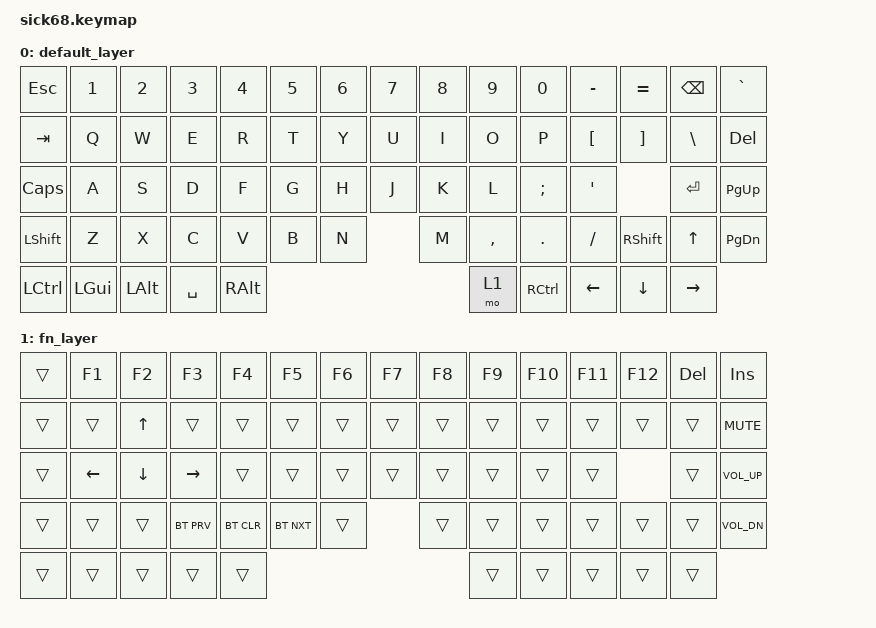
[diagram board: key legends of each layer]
/*
 * SiCK-68 ZMK Keymap
 * Converted from QMK Configurator JSON (handwired_sick68_layout_65_ansi_2026-04-22.json)
 *
 * Layer 0: Base (65% ANSI)
 * Layer 1: Function layer (Fn key = MO(1))
 */

#include <behaviors.dtsi>
#include <dt-bindings/zmk/keys.h>
#include <dt-bindings/zmk/bt.h>
#include <dt-bindings/zmk/outputs.h>

/ {
    keymap {
        compatible = "zmk,keymap";

        /* ── Layer 0: Base ─────────────────────────────────────────────────────
         *  ESC  1    2    3    4    5    6    7    8    9    0    -    =    BSPC GRV
         *  TAB  Q    W    E    R    T    Y    U    I    O    P    [    ]    \    DEL
         *  CAPS A    S    D    F    G    H    J    K    L    ;    '         ENT  PGUP
         *  LSFT      Z    X    C    V    B    N    M    ,    .    /    RSFT UP   PGDN
         *  LCTL LGUI LALT           SPC            RALT MO1  RCTL LEFT DOWN RGHT
         */
        default_layer {
            bindings = <
                &kp ESC   &kp N1   &kp N2   &kp N3   &kp N4   &kp N5   &kp N6   &kp N7   &kp N8   &kp N9   &kp N0   &kp MINUS &kp EQUAL &kp BSPC  &kp GRAVE
                &kp TAB   &kp Q    &kp W    &kp E    &kp R    &kp T    &kp Y    &kp U    &kp I    &kp O    &kp P    &kp LBKT  &kp RBKT  &kp BSLH  &kp DEL
                &kp CAPS  &kp A    &kp S    &kp D    &kp F    &kp G    &kp H    &kp J    &kp K    &kp L    &kp SEMI &kp SQT             &kp RET   &kp PG_UP
                &kp LSHFT          &kp Z    &kp X    &kp C    &kp V    &kp B    &kp N    &kp M    &kp COMMA &kp DOT &kp FSLH  &kp RSHFT &kp UP    &kp PG_DN
                &kp LCTRL &kp LGUI &kp LALT                   &kp SPACE                  &kp RALT  &mo 1   &kp RCTRL &kp LEFT &kp DOWN  &kp RIGHT
            >;
        };

        /* ── Layer 1: Function ─────────────────────────────────────────────────
         *  ---  F1   F2   F3   F4   F5   F6   F7   F8   F9   F10  F11  F12  DEL  INS
         *  ---  ---  UP   ---  ---  ---  ---  ---  ---  ---  ---  ---  ---  ---  MUTE
         *  ---  LEFT DOWN RGHT ---  ---  ---  ---  ---  ---  ---  ---       ---  VOLU
         *  ---       ---  ---  BLDN BLTG BLUP ---  ---  ---  ---  ---  ---  ---  VOLD
         *  ---  ---  ---             ---            ---  ---  ---  PREV PLAY NEXT
         *
         *  Note: QMK's BL_DOWN/BL_TOGG/BL_UP have no ZMK equivalent for Nice!Nano
         *        (Nice!Nano has no hardware backlight). Mapped to BT controls instead.
         *  Note: QMK MS_* (mouse keys) mapped to ZMK equivalents are commented out
         *        — enable if you add zmk-mouse to your config.
         */
        fn_layer {
            bindings = <
                &trans    &kp F1   &kp F2   &kp F3   &kp F4   &kp F5   &kp F6   &kp F7   &kp F8   &kp F9   &kp F10  &kp F11   &kp F12   &kp DEL   &kp INS
                &trans    &trans   &kp UP   &trans   &trans   &trans   &trans   &trans   &trans   &trans   &trans   &trans    &trans    &trans    &kp C_MUTE
                &trans    &kp LEFT &kp DOWN &kp RIGHT &trans  &trans   &trans   &trans   &trans   &trans   &trans   &trans              &trans    &kp C_VOL_UP
                &trans             &trans   &trans   &bt BT_PRV &bt BT_CLR &bt BT_NXT &trans &trans &trans  &trans   &trans    &trans    &trans    &kp C_VOL_DN
                &trans    &trans   &trans                     &trans                     &trans    &trans  &trans    &trans    &trans    &trans
            >;
        };
    };
};
